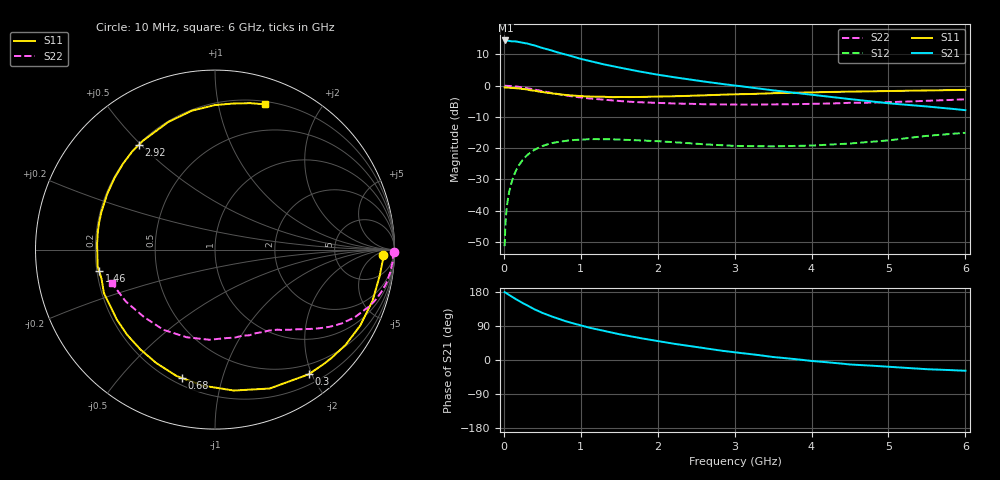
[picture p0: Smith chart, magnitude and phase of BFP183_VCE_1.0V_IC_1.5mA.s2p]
! Infineon Technologies  Discrete & RF Semiconductors
! BFP183
! VCE = 1.0 V,  IC =  1.5 mA
! Common Emitter S-Parameters:  Jan 2016
# GHz  S  MA  R  50
!  f  S11  S21  S12  S22
! GHz  MAG  ANG  MAG  ANG  MAG  ANG  MAG  ANG
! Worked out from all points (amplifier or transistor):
!   210 points, 10 MHz to 6 GHz, reference 50 ohm
!   highest |S21| = 14.5 dB at 20 MHz (marker M1)
!   |S21| within 3 dB of that: start of sweep to 593.1 MHz
!   unconditionally stable (mu >= 1): 2.177 GHz to end of sweep
!   at 185 MHz: K = 0.09, MSG = 20.0 dB, |S12| = -26.0 dB
!   at 1.52 GHz: K = 0.68, MSG = 11.5 dB, |S12| = -17.3 dB
!   at 6 GHz: K = 1.12, MAG = 1.5 dB, |S12| = -15.1 dB
!   S11 on the Smith chart (normalised r, x): 10 MHz: 25, -12; 300 MHz: 0.34, -1.95; 680 MHz: 0.24, -0.75; 1.46 GHz: 0.21, -0.09; 2.92 GHz: 0.20, +0.49; 6 GHz: 0.23, +1.38
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0.01  0.9378 -1.8  5.195 179.1  0.0027 87.4  0.999 -0.7
0.02  0.9365 -3.8  5.284 178.1  0.0058 90.7  0.9922 -1.5
0.05  0.9291 -9.1  5.266 173.8  0.0146 85.5  0.9923 -3.7
0.105  0.9208 -18.9  5.119 167.1  0.0295 77.9  0.9832 -7.8
0.15  0.9133 -27.6  5.111 161.4  0.0418 74.0  0.9729 -11.1
0.2  0.9006 -36.2  4.988 155.3  0.0542 69.1  0.956 -14.4
0.3  0.869 -53.1  4.738 144.5  0.0768 59.6  0.9129 -20.5
0.4  0.8318 -68.5  4.399 133.5  0.0945 51.0  0.8646 -25.9
0.5  0.7922 -82.4  4.013 124.4  0.1079 43.9  0.817 -30.2
0.6  0.761 -95.1  3.723 116.5  0.1186 37.6  0.7732 -33.7
0.68  0.7385 -104.5  3.461 110.8  0.1239 33.2  0.7404 -36.1
0.8  0.7116 -117.4  3.168 102.6  0.1307 27.5  0.6988 -39.2
1.02  0.6787 -137.6  2.646 90.1  0.1372 19.2  0.6417 -43.8
1.2  0.6638 -151.7  2.336 81.4  0.1396 13.3  0.6103 -47.1
1.46  0.6564 -169.4  1.995 69.9  0.1376 7.6  0.5725 -51.3
2.02  0.6671 160.7  1.483 49.3  0.1288 0.4  0.5283 -60.4
2.4  0.6874 144.5  1.261 37.2  0.1202 -2.0  0.5142 -68.2
2.92  0.7217 126.0  1.035 22.3  0.1101 -0.4  0.4993 -79.5
3.1  0.73 120.7  0.972 18.0  0.1081 1.2  0.4968 -83.9
4.1  0.7873 97.5  0.694 -4.1  0.1116 11.8  0.5142 -111.0
5.1  0.8229 81.7  0.51 -19.1  0.1378 19.1  0.549 -139.3
6  0.8557 71.0  0.405 -28.4  0.1761 15.5  0.6051 -162.1
